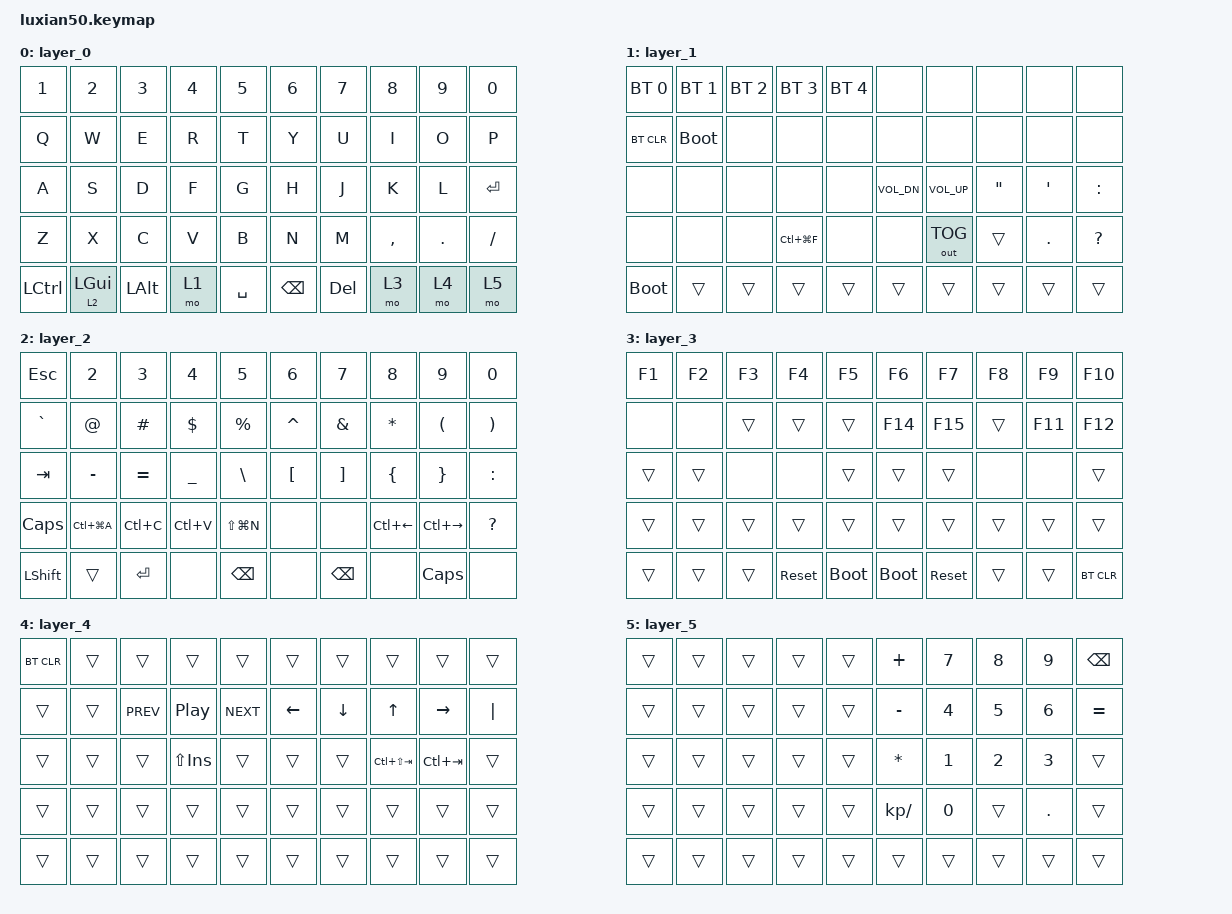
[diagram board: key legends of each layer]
#include <behaviors.dtsi>
#include <dt-bindings/zmk/keys.h>
#include <dt-bindings/zmk/bt.h>
#include <dt-bindings/zmk/outputs.h>

/ {

    keymap {
        compatible = "zmk,keymap";

        layer_0 {
            bindings = <
  &kp NUMBER_1    &kp NUMBER_2      &kp NUMBER_3   &kp NUMBER_4   &kp NUMBER_5    &kp NUMBER_6    &kp NUMBER_7     &kp NUMBER_8       &kp NUMBER_9      &kp NUMBER_0
  &kp Q           &kp W             &kp E          &kp R          &kp T           &kp Y           &kp U            &kp I              &kp O             &kp P
  &kp A           &kp S             &kp D          &kp F          &kp G           &kp H           &kp J            &kp K              &kp L             &kp ENTER
  &kp Z           &kp X             &kp C          &kp V          &kp B           &kp N           &kp M            &kp COMMA          &kp DOT           &kp SLASH
  &kp LCTRL       &lt 2 LEFT_GUI    &kp LEFT_ALT   &mo 1          &kp SPACE       &kp BACKSPACE   &kp DELETE       &mo 3              &mo 4             &mo 5
            >;
        };

       layer_1 {
            bindings = <
  &bt BT_SEL 0  &bt BT_SEL 1  &bt BT_SEL 2  &bt BT_SEL 3  &bt BT_SEL 4    &none   &none  &none    &none  &none
  &bt BT_CLR    &bootloader   &none      &none         &none         &none          &none    &none      &none         &none
  &none      &none         &none         &none          &none           &kp C_VOL_DN  &kp C_VOL_UP  &kp DOUBLE_QUOTES  &kp SQT       &kp COLON
  &none     &none       &none          &kp LC(LG(F))  &none           &none       &out OUT_TOG  &trans             &kp DOT       &kp QUESTION
  &bootloader        &trans        &trans        &trans         &trans          &trans        &trans        &trans             &trans        &trans
            >;
        };



        layer_2 {
            bindings = <
  &kp ESC          &kp NUMBER_2  &kp NUMBER_3  &kp NUMBER_4   &kp NUMBER_5    &kp NUMBER_6  &kp NUMBER_7  &kp NUMBER_8       &kp NUMBER_9  &kp NUMBER_0
  &kp GRAVE        &kp AT_SIGN    &kp HASH   &kp DOLLAR  &kp PERCENT      &kp CARET  &kp AMPS       &kp ASTRK     &kp LPAR       &kp RPAR
  &kp TAB          &kp MINUS      &kp EQUAL  &kp UNDER   &kp BSLH         &kp LBKT   &kp RBKT       &kp LBRC      &kp RBRC       &kp COLON
  &kp CAPSLOCK     &kp LC(LG(A))  &kp LC(C)  &kp LC(V)   &kp LS(LG(N))    &none      &none          &kp LC(LEFT)  &kp LC(RIGHT)  &kp QMARK
  &kp LSHIFT       &trans    &kp ENTER  &none       &kp BACKSPACE    &none      &kp BACKSPACE  &none         &kp CAPS       &none
            >;
        };



        layer_3 {
            bindings = <
  &kp F1  &kp F2  &kp F3  &kp F4      &kp F5         &kp F6        &kp F7        &kp F8        &kp F9        &kp F10
  &none   &none   &trans  &trans      &trans         &kp F14       &kp F15       &trans        &kp F11       &kp F12
  &trans  &trans  &none   &none       &trans         &trans  &trans  &none   &none       &trans
  &trans  &trans  &trans      &trans          &trans        &trans    &trans    &trans           &trans       &trans
  &trans  &trans  &trans  &sys_reset  &bootloader    &bootloader   &sys_reset    &trans        &trans        &bt BT_CLR
            >;
        };

        layer_4 {
            bindings = <
  &bt BT_CLR  &trans  &trans      &trans          &trans        &trans    &trans    &trans           &trans       &trans
  &trans  &trans  &kp C_PREV  &kp C_PP        &kp C_NEXT    &kp LEFT  &kp DOWN  &kp UP           &kp RIGHT    &kp PIPE
  &trans  &trans  &trans      &kp LS(INSERT)  &trans        &trans    &trans    &kp LC(LS(TAB))  &kp LC(TAB)  &trans
  &trans  &trans  &trans      &trans          &trans        &trans    &trans    &trans           &trans       &trans
  &trans  &trans  &trans      &trans          &trans        &trans    &trans    &trans           &trans       &trans
            >;
        };

        layer_5 {
            bindings = <
  &trans  &trans  &trans  &trans  &trans    &kp PLUS      &kp NUMBER_7  &kp NUMBER_8  &kp NUMBER_9  &kp BACKSPACE
  &trans  &trans  &trans  &trans  &trans    &kp MINUS     &kp NUMBER_4  &kp NUMBER_5  &kp NUMBER_6  &kp EQUAL
  &trans  &trans  &trans  &trans  &trans    &kp ASTERISK  &kp NUMBER_1  &kp NUMBER_2  &kp NUMBER_3  &trans
  &trans  &trans  &trans  &trans  &trans    &kp KP_DIVIDE    &kp NUMBER_0  &trans        &kp DOT       &trans
  &trans  &trans  &trans      &trans          &trans        &trans    &trans    &trans           &trans       &trans
            >;
        };
    };
};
